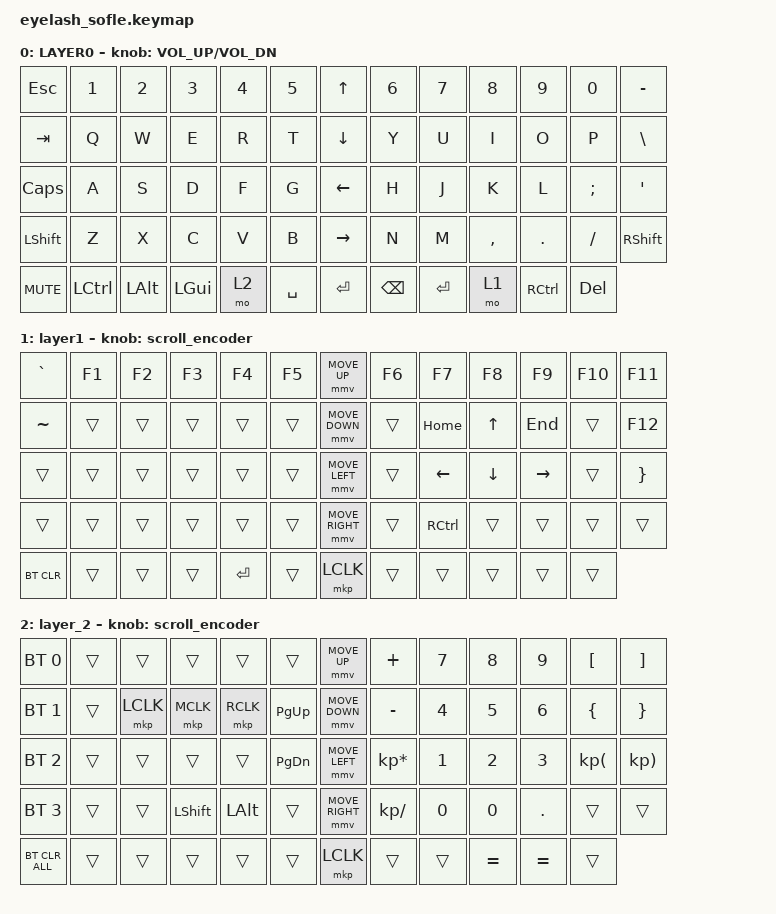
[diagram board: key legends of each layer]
#include <behaviors.dtsi>
#include <dt-bindings/zmk/bt.h>
#include <dt-bindings/zmk/keys.h>
#include <dt-bindings/zmk/mouse.h>
#include <dt-bindings/zmk/outputs.h>
#include <dt-bindings/zmk/rgb.h>

#include <input/processors.dtsi>

/*

   &mmv_input_listener {
       input-processors = <&zip_xy_scaler 2 1>;
   };

   &msc_input_listener {
       input-processors = <&zip_xy_scaler 2 1>;
   };

 */

#define ZMK_MOUSE_DEFAULT_MOVE_VAL 1200  // 600
#define ZMK_MOUSE_DEFAULT_SCRL_VAL 20    // 10


/ {
    behaviors {
        mmv {
            acceleration-exponent = <1>;      // 1
            time-to-max-speed-ms = <900>;    // 40
            delay-ms = <0>;                   // 0
        };

        msc {
            acceleration-exponent = <1>;      // 0
            time-to-max-speed-ms = <400>;      // 500
            delay-ms = <0>;                   //   10
        };
    };

    scroll_encoder: scroll_encoder {
        compatible = "zmk,behavior-sensor-rotate";
        #sensor-binding-cells = <0>;
        bindings = <&msc SCRL_DOWN>, <&msc SCRL_UP>;

        tap-ms = <30>;
    };

    keymap {
        compatible = "zmk,keymap";

        layer0 {
            bindings = <
&kp ESC     &kp N1     &kp N2        &kp N3        &kp N4        &kp N5       &kp UP_ARROW      &kp N6         &kp N7     &kp N8     &kp N9           &kp N0      &kp MINUS
&kp TAB     &kp Q      &kp W         &kp E         &kp R         &kp T        &kp DOWN_ARROW    &kp Y          &kp U      &kp I      &kp O            &kp P       &kp BSLH
&kp CAPS    &kp A      &kp S         &kp D         &kp F         &kp G        &kp LEFT_ARROW    &kp H          &kp J      &kp K      &kp L            &kp SEMI    &kp APOS
&kp LSHFT   &kp Z      &kp X         &kp C         &kp V         &kp B        &kp RIGHT_ARROW   &kp N          &kp M      &kp COMMA  &kp DOT          &kp FSLH    &kp RIGHT_SHIFT
&kp C_MUTE  &kp LCTRL  &kp LEFT_ALT  &kp LEFT_GUI  &mo 2         &kp SPACE    &kp ENTER         &kp BACKSPACE  &kp ENTER  &mo 1      &kp RCTRL  &kp DELETE
            >;

            sensor-bindings = <&inc_dec_kp C_VOLUME_UP C_VOL_DN>;
            display-name = "LAYER0";
        };

        layer_1 {
            bindings = <
&kp GRAVE   &kp F1        &kp F2      &kp F3        &kp F4        &kp F5       &mmv MOVE_UP      &kp F6        &kp F7     &kp F8      &kp F9        &kp F10      &kp F11
&kp TILDE   &trans        &trans      &trans        &trans        &trans       &mmv MOVE_DOWN    &trans        &kp HOME   &kp UP      &kp END       &trans       &kp F12
&trans      &trans        &trans      &trans        &trans        &trans       &mmv MOVE_LEFT    &trans        &kp LEFT   &kp DOWN    &kp RIGHT     &trans       &kp RBRC
&trans      &trans        &trans      &trans        &trans        &trans       &mmv MOVE_RIGHT   &trans        &kp RCTRL  &trans      &trans        &trans       &trans
&bt BT_CLR  &trans        &trans      &trans        &kp ENTER     &trans       &mkp LCLK         &trans        &trans     &trans      &trans        &trans
            >;

            display-name = "layer1";
            sensor-bindings = <&scroll_encoder>;
        };

        layer_2 {
            bindings = <
&bt BT_SEL 0   &trans     &trans       &trans     &trans        &trans    &mmv MOVE_UP     &kp PLUS         &kp N7      &kp N8      &kp N9    &kp LEFT_BRACKET  &kp RIGHT_BRACKET
&bt BT_SEL 1   &trans     &mkp LCLK    &mkp MCLK  &mkp RCLK     &kp PG_UP &mmv MOVE_DOWN   &kp MINUS        &kp N4      &kp N5      &kp N6       &kp LBRC          &kp RBRC
&bt BT_SEL 2   &trans     &trans       &trans     &trans        &kp PG_DN &mmv MOVE_LEFT   &kp KP_MULTIPLY  &kp N1      &kp N2      &kp N3       &kp KP_LPAR       &kp KP_RPAR
&bt BT_SEL 3   &trans     &trans       &kp LSHFT  &kp LEFT_ALT  &trans    &mmv MOVE_RIGHT  &kp KP_DIVIDE    &kp N0      &kp N0      &kp DOT      &trans         &trans
&bt BT_CLR_ALL &trans     &trans       &trans     &trans        &trans    &mkp LCLK        &trans           &trans      &kp EQUAL   &kp EQUAL    &trans
            >;

            sensor-bindings = <&scroll_encoder>;
        };
    };
};
